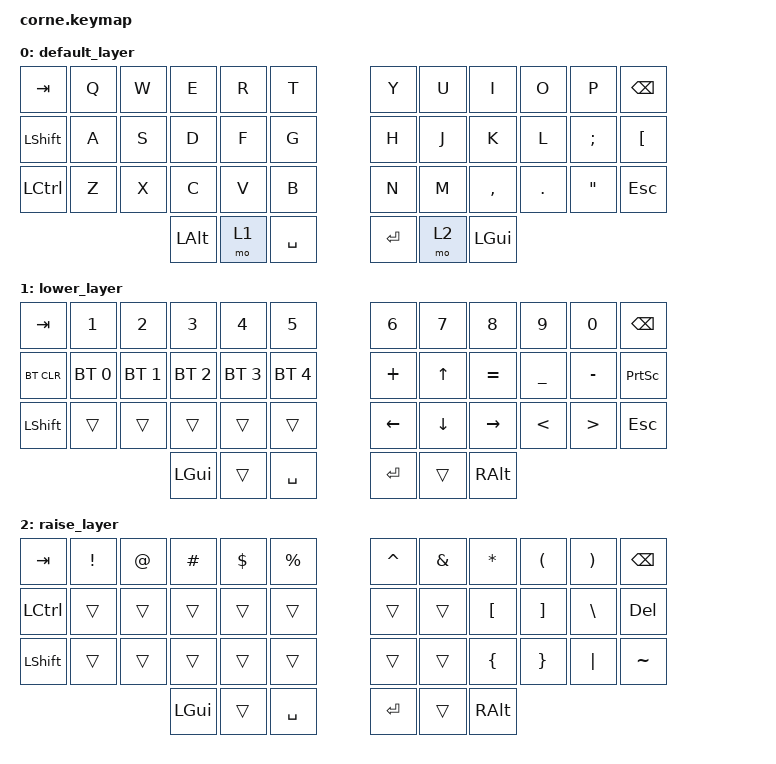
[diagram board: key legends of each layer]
/*
 * Copyright (c) 2020 The ZMK Contributors
 *
 * SPDX-License-Identifier: MIT
 */

#include <behaviors.dtsi>
#include <dt-bindings/zmk/bt.h>
#include <dt-bindings/zmk/keys.h>

/ {
    combos {
        compatible = "zmk,combos";

        combo_esc {
            timeout-ms = <50>;
            key-positions = <0 1>;
            bindings = <&kp ESC>;
        };
    };

    behaviors {
        ss_hs_modmorph: ss_hs_modmorph {
            compatible = "zmk,behavior-mod-morph";
            label = "SS_HS_MODMORPH";
            bindings = <&kp M>, <&kp RIGHT_BRACKET>;

            #binding-cells = <0>;
            mods = <(MOD_LSFT|MOD_RSFT)>;
        };

        kh_hs_tapdance: kh_hs_tapdance {
            compatible = "zmk,behavior-tap-dance";
            label = "KH_HS_TAPDANCE";
            #binding-cells = <0>;
            tapping-term-ms = <200>;
            bindings = <&kp LEFT_BRACKET>, <&kp RIGHT_BRACKET>;
        };

        hrm: hrm {
            compatible = "zmk,behavior-hold-tap";
            #binding-cells = <2>;
            flavor = "tap-preferred";
            tapping-term-ms = <200>;
            quick-tap-ms = <200>;
            require-prior-idle-ms = <125>;
            bindings = <&kp>, <&kp>;
        };
    };

    keymap {
        compatible = "zmk,keymap";

        default_layer {
            // -----------------------------------------------------------------------------------------
            // |  TAB |  Q  |  W  |  E  |  R  |  T  |   |  Y  |  U   |  I  |  O  |  P  | BKSP |
            // | CTRL |  A  |  S  |  D  |  F  |  G  |   |  H  |  J   |  K  |  L  |  ;  |  '   |
            // | SHFT |  Z  |  X  |  C  |  V  |  B  |   |  N  |  M   |  ,  |  .  |  /  | ESC  |
            //                    | GUI | LWR | SPC |   | ENT | RSE  | ALT |

            bindings = <
&kp TAB           &kp Q  &kp W  &kp E         &kp R  &kp T        &kp Y    &kp U  &kp I         &kp O    &kp P              &kp BSPC
&kp LEFT_SHIFT    &kp A  &kp S  &kp D         &kp F  &kp G        &kp H    &kp J  &kp K         &kp L    &kp SEMI           &kp LEFT_BRACKET
&kp LEFT_CONTROL  &kp Z  &kp X  &kp C         &kp V  &kp B        &kp N    &kp M  &kp COMMA     &kp DOT  &kp DOUBLE_QUOTES  &kp ESC
                                &kp LEFT_ALT  &mo 1  &kp SPACE    &kp RET  &mo 2  &kp LEFT_GUI
            >;
        };

        lower_layer {
            // -----------------------------------------------------------------------------------------
            // |  TAB |  1  |  2  |  3  |  4  |  5  |   |  6  |  7  |  8  |  9  |  0  | BKSP |
            // | BTCLR| BT1 | BT2 | BT3 | BT4 | BT5 |   | LFT | DWN |  UP | RGT |     |      |
            // | SHFT |     |     |     |     |     |   |     |     |     |     |     |      |
            //                    | GUI |     | SPC |   | ENT |     | ALT |

            bindings = <
&kp TAB     &kp N1        &kp N2        &kp N3        &kp N4        &kp N5          &kp N6    &kp N7          &kp N8     &kp N9          &kp N0            &kp BACKSPACE
&bt BT_CLR  &bt BT_SEL 0  &bt BT_SEL 1  &bt BT_SEL 2  &bt BT_SEL 3  &bt BT_SEL 4    &kp PLUS  &kp UP_ARROW    &kp EQUAL  &kp UNDERSCORE  &kp MINUS         &kp PRINTSCREEN
&kp LSHFT   &trans        &trans        &trans        &trans        &trans          &kp LEFT  &kp DOWN_ARROW  &kp RIGHT  &kp LESS_THAN   &kp GREATER_THAN  &kp ESCAPE
                                        &kp LGUI      &trans        &kp SPACE       &kp RET   &trans          &kp RALT
            >;
        };

        raise_layer {
            // -----------------------------------------------------------------------------------------
            // |  TAB |  !  |  @  |  #  |  $  |  %  |   |  ^  |  &  |  *  |  (  |  )  | BKSP |
            // | CTRL |     |     |     |     |     |   |  -  |  =  |  [  |  ]  |  \  |  `   |
            // | SHFT |     |     |     |     |     |   |  _  |  +  |  {  |  }  | "|" |  ~   |
            //                    | GUI |     | SPC |   | ENT |     | ALT |

            bindings = <
&kp TAB    &kp EXCL  &kp AT  &kp HASH  &kp DLLR  &kp PRCNT    &kp CARET  &kp AMPS  &kp ASTRK  &kp LPAR  &kp RPAR  &kp BSPC
&kp LCTRL  &trans    &trans  &trans    &trans    &trans       &trans     &trans    &kp LBKT   &kp RBKT  &kp BSLH  &kp DELETE
&kp LSHFT  &trans    &trans  &trans    &trans    &trans       &trans     &trans    &kp LBRC   &kp RBRC  &kp PIPE  &kp TILDE
                             &kp LGUI  &trans    &kp SPACE    &kp RET    &trans    &kp RALT
            >;
        };
    };
};
